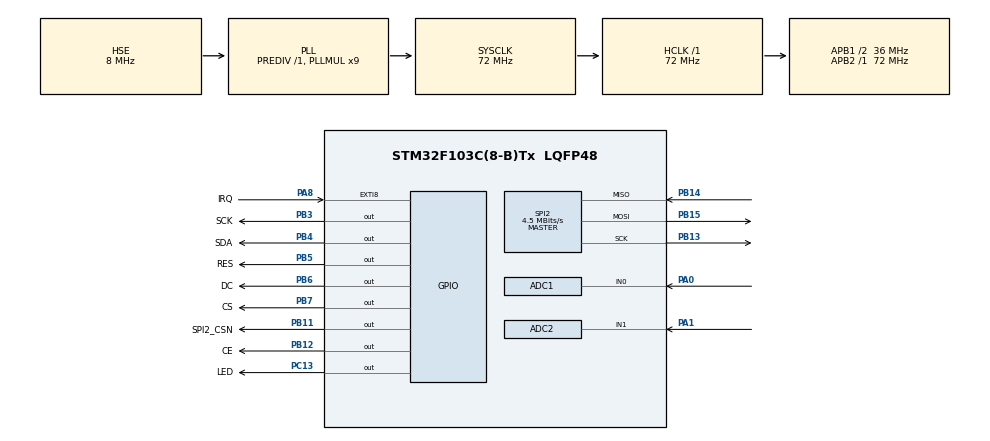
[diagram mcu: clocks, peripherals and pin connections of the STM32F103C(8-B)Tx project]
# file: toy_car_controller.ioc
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ADC1.Channel-5\#ChannelRegularConversion=ADC_CHANNEL_0
ADC1.ExternalTrigConv=ADC_SOFTWARE_START
ADC1.Mode=__NULL
ADC1.NbrOfConversionFlag=1
ADC1.Rank-5\#ChannelRegularConversion=1
ADC1.SamplingTime-5\#ChannelRegularConversion=ADC_SAMPLETIME_1CYCLE_5
ADC1.master=1
ADC2.Channel-1\#ChannelRegularConversion=ADC_CHANNEL_1
ADC2.NbrOfConversionFlag=1
ADC2.Rank-1\#ChannelRegularConversion=1
ADC2.SamplingTime-1\#ChannelRegularConversion=ADC_SAMPLETIME_1CYCLE_5
FREERTOS.Tasks01=Main,24,128,APP_main,Default,NULL,Dynamic,NULL,NULL;OLED,24,128,APP_OLED,Default,NULL,Dynamic,NULL,NULL
FREERTOS.configMINIMAL_STACK_SIZE=64
FREERTOS.configUSE_NEWLIB_REENTRANT=0
Mcu.Family=STM32F1
Mcu.Name=STM32F103C(8-B)Tx
Mcu.Package=LQFP48
NVIC.EXTI9_5_IRQn=true\:6\:0\:true\:false\:true\:true\:true\:true\:true
NVIC.PriorityGroup=NVIC_PRIORITYGROUP_4
NVIC.TIM4_IRQn=true\:15\:0\:false\:false\:true\:false\:false\:true\:true
NVIC.TimeBase=TIM4_IRQn
NVIC.TimeBaseIP=TIM4
PA0-WKUP.Signal=ADCx_IN0
PA1.Signal=ADCx_IN1
PA13.Mode=Serial_Wire
PA13.Signal=SYS_JTMS-SWDIO
PA14.Mode=Serial_Wire
PA14.Signal=SYS_JTCK-SWCLK
PA8.GPIO_Label=IRQ
PA8.GPIO_ModeDefaultEXTI=GPIO_MODE_IT_FALLING
PA8.Signal=GPXTI8
PB11.GPIO_Label=SPI2_CSN
PB11.GPIO_Speed=GPIO_SPEED_FREQ_HIGH
PB11.PinState=GPIO_PIN_SET
PB11.Signal=GPIO_Output
PB12.GPIO_Label=CE
PB12.GPIO_Speed=GPIO_SPEED_FREQ_HIGH
PB12.Signal=GPIO_Output
PB13.Mode=Full_Duplex_Master
PB13.Signal=SPI2_SCK
PB14.Mode=Full_Duplex_Master
PB14.Signal=SPI2_MISO
PB15.Mode=Full_Duplex_Master
PB15.Signal=SPI2_MOSI
PB3.GPIO_Label=SCK
PB3.GPIO_Speed=GPIO_SPEED_FREQ_HIGH
PB3.Signal=GPIO_Output
PB4.GPIO_Label=SDA
PB4.GPIO_Speed=GPIO_SPEED_FREQ_HIGH
PB4.Signal=GPIO_Output
PB5.GPIO_Label=RES
PB5.GPIO_Speed=GPIO_SPEED_FREQ_HIGH
PB5.Signal=GPIO_Output
PB6.GPIO_Label=DC
PB6.GPIO_Speed=GPIO_SPEED_FREQ_HIGH
PB6.Signal=GPIO_Output
PB7.GPIO_Label=CS
PB7.GPIO_Speed=GPIO_SPEED_FREQ_HIGH
PB7.Signal=GPIO_Output
PC13-TAMPER-RTC.GPIO_Label=LED
PC13-TAMPER-RTC.GPIO_Speed=GPIO_SPEED_FREQ_HIGH
PC13-TAMPER-RTC.Signal=GPIO_Output
PD0-OSC_IN.Mode=HSE-External-Oscillator
PD0-OSC_IN.Signal=RCC_OSC_IN
PD1-OSC_OUT.Mode=HSE-External-Oscillator
PD1-OSC_OUT.Signal=RCC_OSC_OUT
ProjectManager.HeapSize=0x200
ProjectManager.StackSize=0x400
ProjectManager.TargetToolchain=STM32CubeIDE
RCC.ADCPresc=RCC_ADCPCLK2_DIV6
RCC.AHBFreq_Value=72000000
RCC.APB1CLKDivider=RCC_HCLK_DIV2
RCC.APB1Freq_Value=36000000
RCC.APB1TimFreq_Value=72000000
RCC.APB2Freq_Value=72000000
RCC.APB2TimFreq_Value=72000000
RCC.HCLKFreq_Value=72000000
RCC.PLLMUL=RCC_PLL_MUL9
RCC.PLLSourceVirtual=RCC_PLLSOURCE_HSE
RCC.SYSCLKFreq_VALUE=72000000
RCC.SYSCLKSource=RCC_SYSCLKSOURCE_PLLCLK
RCC.USBFreq_Value=72000000
SH.ADCx_IN0.0=ADC1_IN0,IN0
SH.ADCx_IN1.0=ADC2_IN1,IN1
SPI2.BaudRatePrescaler=SPI_BAUDRATEPRESCALER_8
SPI2.CalculateBaudRate=4.5 MBits/s
SPI2.Direction=SPI_DIRECTION_2LINES
SPI2.Mode=SPI_MODE_MASTER
SPI2.VirtualType=VM_MASTER
VP_FREERTOS_VS_CMSIS_V2.Mode=CMSIS_V2
VP_SYS_VS_tim4.Mode=TIM4
board=custom

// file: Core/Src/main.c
/* USER CODE BEGIN Header */
/**
  ******************************************************************************
  * @file           : main.c
  * @brief          : Main program body
  ******************************************************************************
  * @attention
  *
  * Copyright (c) 2023 STMicroelectronics.
  * All rights reserved.
  *
  * This software is licensed under terms that can be found in the LICENSE file
  * in the root directory of this software component.
  * If no LICENSE file comes with this software, it is provided AS-IS.
  *
  ******************************************************************************
  */
/* USER CODE END Header */
#include "main.h"
#include "cmsis_os.h"
#include "adc.h"
#include "spi.h"
#include "gpio.h"

/* USER CODE BEGIN Includes */
#include "../../Drivers/NRF24L01/Inc/nrf24l01p.h"
#include "../../Drivers/OLED/Inc/oled.h"
/* USER CODE END Includes */

void SystemClock_Config(void);
void MX_FREERTOS_Init(void);

int main(void)
{

  /* MCU Configuration--------------------------------------------------------*/

  /* Reset of all peripherals, Initializes the Flash interface and the Systick. */
  HAL_Init();

  /* Configure the system clock */
  SystemClock_Config();

  /* Initialize all configured peripherals */
  MX_GPIO_Init();
  MX_SPI2_Init();
  MX_ADC1_Init();
  MX_ADC2_Init();
  /* USER CODE BEGIN 2 */
  nrf24l01p_tx_init(2500,_1Mbps);
  OLED_Init();
  OLED_ShowString(2,2,"Car Controller");
  /* USER CODE END 2 */

  /* Init scheduler */
  osKernelInitialize();  /* Call init function for freertos objects (in freertos.c) */
  MX_FREERTOS_Init();

  /* Start scheduler */
  osKernelStart();

  /* We should never get here as control is now taken by the scheduler */
  /* Infinite loop */
  while (1)
  {

  }
}

void SystemClock_Config(void)
{
  RCC_OscInitTypeDef RCC_OscInitStruct = {0};
  RCC_ClkInitTypeDef RCC_ClkInitStruct = {0};
  RCC_PeriphCLKInitTypeDef PeriphClkInit = {0};

  /** Initializes the RCC Oscillators according to the specified parameters
  * in the RCC_OscInitTypeDef structure.
  */
  RCC_OscInitStruct.OscillatorType = RCC_OSCILLATORTYPE_HSE;
  RCC_OscInitStruct.HSEState = RCC_HSE_ON;
  RCC_OscInitStruct.HSEPredivValue = RCC_HSE_PREDIV_DIV1;
  RCC_OscInitStruct.HSIState = RCC_HSI_ON;
  RCC_OscInitStruct.PLL.PLLState = RCC_PLL_ON;
  RCC_OscInitStruct.PLL.PLLSource = RCC_PLLSOURCE_HSE;
  RCC_OscInitStruct.PLL.PLLMUL = RCC_PLL_MUL9;
  if (HAL_RCC_OscConfig(&RCC_OscInitStruct) != HAL_OK)
  {
    Error_Handler();
  }

  /** Initializes the CPU, AHB and APB buses clocks
  */
  RCC_ClkInitStruct.ClockType = RCC_CLOCKTYPE_HCLK|RCC_CLOCKTYPE_SYSCLK
                              |RCC_CLOCKTYPE_PCLK1|RCC_CLOCKTYPE_PCLK2;
  RCC_ClkInitStruct.SYSCLKSource = RCC_SYSCLKSOURCE_PLLCLK;
  RCC_ClkInitStruct.AHBCLKDivider = RCC_SYSCLK_DIV1;
  RCC_ClkInitStruct.APB1CLKDivider = RCC_HCLK_DIV2;
  RCC_ClkInitStruct.APB2CLKDivider = RCC_HCLK_DIV1;

  if (HAL_RCC_ClockConfig(&RCC_ClkInitStruct, FLASH_LATENCY_2) != HAL_OK)
  {
    Error_Handler();
  }
  PeriphClkInit.PeriphClockSelection = RCC_PERIPHCLK_ADC;
  PeriphClkInit.AdcClockSelection = RCC_ADCPCLK2_DIV6;
  if (HAL_RCCEx_PeriphCLKConfig(&PeriphClkInit) != HAL_OK)
  {
    Error_Handler();
  }
}

void HAL_TIM_PeriodElapsedCallback(TIM_HandleTypeDef *htim)
{
  if (htim->Instance == TIM4) {
    HAL_IncTick();
  }
}

void Error_Handler(void)
{
  __disable_irq();
  while (1)
  {
  }
}

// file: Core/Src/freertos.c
/* USER CODE BEGIN Header */
/**
  ******************************************************************************
  * File Name          : freertos.c
  * Description        : Code for freertos applications
  ******************************************************************************
  * @attention
  *
  * Copyright (c) 2023 STMicroelectronics.
  * All rights reserved.
  *
  * This software is licensed under terms that can be found in the LICENSE file
  * in the root directory of this software component.
  * If no LICENSE file comes with this software, it is provided AS-IS.
  *
  ******************************************************************************
  */
/* USER CODE END Header */

#include "FreeRTOS.h"
#include "task.h"
#include "main.h"
#include "cmsis_os.h"

/* USER CODE BEGIN Includes */
#include "nrf24l01p.h"
#include "oled.h"
#include "stream_buffer.h"
#include "adc.h"
#include "stream_buffer.h"
/* USER CODE END Includes */

/* USER CODE BEGIN Variables */
TaskHandle_t ADCHandle;
BaseType_t ADCRetval;

StreamBufferHandle_t streamBufferHandle;
StreamBufferHandle_t streamBufferHandle1;
/* USER CODE END Variables */
/* Definitions for Main */
osThreadId_t MainHandle;
const osThreadAttr_t Main_attributes = {
  .name = "Main",
  .stack_size = 128 * 4,
  .priority = (osPriority_t) osPriorityNormal,
};
/* Definitions for OLED */
osThreadId_t OLEDHandle;
const osThreadAttr_t OLED_attributes = {
  .name = "OLED",
  .stack_size = 128 * 4,
  .priority = (osPriority_t) osPriorityBelowNormal,
};

/* USER CODE BEGIN FunctionPrototypes */
void APP_ADC(void * param);
/* USER CODE END FunctionPrototypes */

void APP_main(void *argument);
void APP_OLED(void *argument);

void MX_FREERTOS_Init(void); /* (MISRA C 2004 rule 8.1) */

void MX_FREERTOS_Init(void) {

  /* Create the thread(s) */
  /* creation of Main */
  MainHandle = osThreadNew(APP_main, NULL, &Main_attributes);

  /* creation of OLED */
  OLEDHandle = osThreadNew(APP_OLED, NULL, &OLED_attributes);

  /* USER CODE BEGIN RTOS_THREADS */
  /* add threads, ... */
  /*Creat ADC task*/
  ADCRetval = xTaskCreate(APP_ADC,"ADC",128,NULL,osPriorityHigh,ADCHandle);
  /* USER CODE END RTOS_THREADS */

  /* USER CODE BEGIN RTOS_EVENTS */
  /* add events, ... */
  streamBufferHandle = xStreamBufferCreate(8,4);
  streamBufferHandle1 = xStreamBufferCreate(8,4);
  /* USER CODE END RTOS_EVENTS */

}

void APP_main(void *argument)
{
  /* USER CODE BEGIN APP_main */
  uint16_t streamBuffer[2];
  uint8_t TxBuff[4];
  /* Infinite loop */
  for(;;)
  {
    xStreamBufferReceive(streamBufferHandle,streamBuffer,4, pdMS_TO_TICKS(10));
    TxBuff[0] = (uint8_t)streamBuffer[0];
    TxBuff[1] = (uint8_t)(streamBuffer[0] >> 8);
    TxBuff[2] = (uint8_t)streamBuffer[1];
    TxBuff[3] = (uint8_t)(streamBuffer[1] >> 8);
    nrf24l01p_tx_transmit(TxBuff);
    xStreamBufferSend(streamBufferHandle1,streamBuffer,4,0);
    osDelay(1);
  }
  /* USER CODE END APP_main */
}

void APP_OLED(void *argument)
{
  /* USER CODE BEGIN APP_OLED */
  uint16_t adcValue[2];
  OLED_ShowString(2,4,(uint8_t*)"ADC1:");
  OLED_ShowString(2,6,(uint8_t*)"ADC2:");
  /* Infinite loop */
  for(;;)
  {
    xStreamBufferReceive(streamBufferHandle1,adcValue,4,0);
    OLED_ShowNum(2 + 8*5,4,adcValue[0],4,SIZE);
    OLED_ShowNum(2 + 8*5,6,adcValue[1],4,SIZE);
    osDelay(1);
  }
  /* USER CODE END APP_OLED */
}

/* USER CODE BEGIN Application */
void APP_ADC(void *param) {
  uint16_t adcValue[2];
  for(;;) {
    HAL_ADC_Start(&hadc1);
    HAL_ADC_Start(&hadc2);
    if(HAL_ADC_PollForConversion(&hadc1,10) == HAL_OK) {
      adcValue[0] = HAL_ADC_GetValue(&hadc1);
    }
    if(HAL_ADC_PollForConversion(&hadc2,10) == HAL_OK) {
      adcValue[1] = HAL_ADC_GetValue(&hadc2);
    }
    xStreamBufferSend(streamBufferHandle,adcValue,4, pdMS_TO_TICKS(10));

    vTaskDelay(1);
  }
}

void HAL_GPIO_EXTI_Callback(uint16_t GPIO_Pin) {
  if(GPIO_Pin == NRF24L01P_IRQ_PIN_NUMBER) {
    nrf24l01p_tx_irq(); //clear interrupt flag
  }
}
/* USER CODE END Application */
